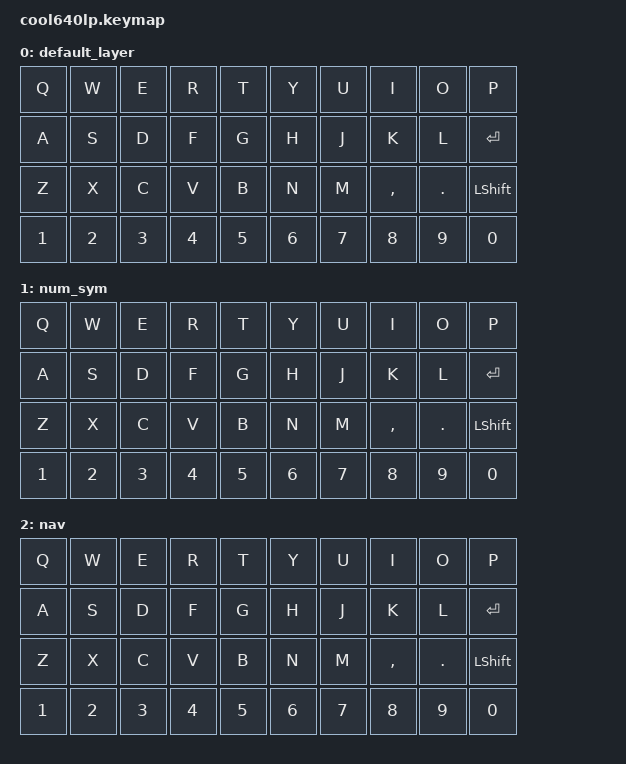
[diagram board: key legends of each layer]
/*
 * Copyright (c) 2020 The ZMK Contributors
 *
 * SPDX-License-Identifier: MIT
 */

#include <behaviors.dtsi>
#include <dt-bindings/zmk/keys.h>
#include <dt-bindings/zmk/bt.h>

#define DEFAULT 0
#define NUM_SYM 1
#define NAV     2


/ {
    keymap {
        compatible = "zmk,keymap";

        default_layer {
            bindings = <
    &kp Q      &kp W      &kp E       &kp R       &kp T  &kp Y  &kp U       &kp I       &kp O      &kp P
    &kp A      &kp S      &kp D       &kp F       &kp G  &kp H  &kp J       &kp K       &kp L      &kp RET
    &kp Z      &kp X      &kp C       &kp V       &kp B  &kp N  &kp M       &kp COMMA   &kp DOT    &kp LSHFT
    &kp N1     &kp N2     &kp N3      &kp N4      &kp N5 &kp N6 &kp N7      &kp N8      &kp N9     &kp N0
            >;
        };
        num_sym {
            bindings = <
    &kp Q      &kp W      &kp E       &kp R       &kp T  &kp Y  &kp U       &kp I       &kp O      &kp P
    &kp A      &kp S      &kp D       &kp F       &kp G  &kp H  &kp J       &kp K       &kp L      &kp RET
    &kp Z      &kp X      &kp C       &kp V       &kp B  &kp N  &kp M       &kp COMMA   &kp DOT    &kp LSHFT
    &kp N1     &kp N2     &kp N3      &kp N4      &kp N5 &kp N6 &kp N7      &kp N8      &kp N9     &kp N0
>;
        };

    nav {
            bindings = <
    &kp Q      &kp W      &kp E       &kp R       &kp T  &kp Y  &kp U       &kp I       &kp O      &kp P
    &kp A      &kp S      &kp D       &kp F       &kp G  &kp H  &kp J       &kp K       &kp L      &kp RET
    &kp Z      &kp X      &kp C       &kp V       &kp B  &kp N  &kp M       &kp COMMA   &kp DOT    &kp LSHFT
    &kp N1     &kp N2     &kp N3      &kp N4      &kp N5 &kp N6 &kp N7      &kp N8      &kp N9     &kp N0          >;
        };
    };
};
